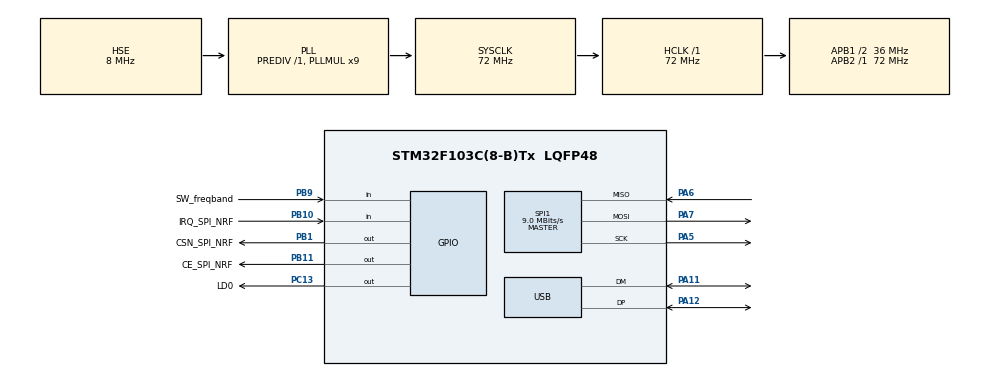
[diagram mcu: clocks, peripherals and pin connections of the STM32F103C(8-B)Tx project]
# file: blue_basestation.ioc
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Mcu.Family=STM32F1
Mcu.Name=STM32F103C(8-B)Tx
Mcu.Package=LQFP48
NVIC.PriorityGroup=NVIC_PRIORITYGROUP_4
NVIC.USB_LP_CAN1_RX0_IRQn=true\:0\:0\:false\:false\:true\:false
PA11.Mode=Device
PA11.Signal=USB_DM
PA12.Mode=Device
PA12.Signal=USB_DP
PA13.Mode=Serial_Wire
PA13.Signal=SYS_JTMS-SWDIO
PA14.Mode=Serial_Wire
PA14.Signal=SYS_JTCK-SWCLK
PA5.Mode=Full_Duplex_Master
PA5.Signal=SPI1_SCK
PA6.Mode=Full_Duplex_Master
PA6.Signal=SPI1_MISO
PA7.Mode=Full_Duplex_Master
PA7.Signal=SPI1_MOSI
PB1.GPIO_Label=CSN_SPI_NRF
PB1.Signal=GPIO_Output
PB10.GPIO_Label=IRQ_SPI_NRF
PB10.Signal=GPIO_Input
PB11.GPIO_Label=CE_SPI_NRF
PB11.Signal=GPIO_Output
PB9.GPIO_Label=SW_freqband
PB9.GPIO_PuPd=GPIO_PULLUP
PB9.Signal=GPIO_Input
PC13-TAMPER-RTC.GPIO_Label=LD0
PC13-TAMPER-RTC.PinState=GPIO_PIN_SET
PC13-TAMPER-RTC.Signal=GPIO_Output
PD0-OSC_IN.Mode=HSE-External-Oscillator
PD0-OSC_IN.Signal=RCC_OSC_IN
PD1-OSC_OUT.Mode=HSE-External-Oscillator
PD1-OSC_OUT.Signal=RCC_OSC_OUT
ProjectManager.HeapSize=0x200
ProjectManager.StackSize=0x400
ProjectManager.TargetToolchain=SW4STM32
RCC.AHBFreq_Value=72000000
RCC.APB1CLKDivider=RCC_HCLK_DIV2
RCC.APB1Freq_Value=36000000
RCC.APB1TimFreq_Value=72000000
RCC.APB2Freq_Value=72000000
RCC.APB2TimFreq_Value=72000000
RCC.HCLKFreq_Value=72000000
RCC.PLLMUL=RCC_PLL_MUL9
RCC.SYSCLKFreq_VALUE=72000000
RCC.SYSCLKSource=RCC_SYSCLKSOURCE_PLLCLK
RCC.USBFreq_Value=48000000
RCC.USBPrescaler=RCC_USBCLKSOURCE_PLL_DIV1_5
SPI1.BaudRatePrescaler=SPI_BAUDRATEPRESCALER_8
SPI1.CalculateBaudRate=9.0 MBits/s
SPI1.Direction=SPI_DIRECTION_2LINES
SPI1.Mode=SPI_MODE_MASTER
SPI1.VirtualType=VM_MASTER
USB_DEVICE.CLASS_NAME_FS=CDC
USB_DEVICE.PRODUCT_STRING_CDC_FS=Basestation
USB_DEVICE.VirtualMode=Cdc
USB_DEVICE.VirtualModeFS=Cdc_FS
VP_USB_DEVICE_VS_USB_DEVICE_CDC_FS.Mode=CDC_FS
board=blue_basestation

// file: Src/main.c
/**
  ******************************************************************************
  * @file           : main.c
  * @brief          : Main program body
  ******************************************************************************
  * This notice applies to any and all portions of this file
  * that are not between comment pairs USER CODE BEGIN and
  * USER CODE END. Other portions of this file, whether
  * inserted by the user or by software development tools
  * are owned by their respective copyright owners.
  *
  * Copyright (c) 2018 STMicroelectronics International N.V.
  * All rights reserved.
  *
  * Redistribution and use in source and binary forms, with or without
  * modification, are permitted, provided that the following conditions are met:
  *
  * 1. Redistribution of source code must retain the above copyright notice,
  *    this list of conditions and the following disclaimer.
  * 2. Redistributions in binary form must reproduce the above copyright notice,
  *    this list of conditions and the following disclaimer in the documentation
  *    and/or other materials provided with the distribution.
  * 3. Neither the name of STMicroelectronics nor the names of other
  *    contributors to this software may be used to endorse or promote products
  *    derived from this software without specific written permission.
  * 4. This software, including modifications and/or derivative works of this
  *    software, must execute solely and exclusively on microcontroller or
  *    microprocessor devices manufactured by or for STMicroelectronics.
  * 5. Redistribution and use of this software other than as permitted under
  *    this license is void and will automatically terminate your rights under
  *    this license.
  *
  * THIS SOFTWARE IS PROVIDED BY STMICROELECTRONICS AND CONTRIBUTORS "AS IS"
  * AND ANY EXPRESS, IMPLIED OR STATUTORY WARRANTIES, INCLUDING, BUT NOT
  * LIMITED TO, THE IMPLIED WARRANTIES OF MERCHANTABILITY, FITNESS FOR A
  * PARTICULAR PURPOSE AND NON-INFRINGEMENT OF THIRD PARTY INTELLECTUAL PROPERTY
  * RIGHTS ARE DISCLAIMED TO THE FULLEST EXTENT PERMITTED BY LAW. IN NO EVENT
  * SHALL STMICROELECTRONICS OR CONTRIBUTORS BE LIABLE FOR ANY DIRECT, INDIRECT,
  * INCIDENTAL, SPECIAL, EXEMPLARY, OR CONSEQUENTIAL DAMAGES (INCLUDING, BUT NOT
  * LIMITED TO, PROCUREMENT OF SUBSTITUTE GOODS OR SERVICES; LOSS OF USE, DATA,
  * OR PROFITS; OR BUSINESS INTERRUPTION) HOWEVER CAUSED AND ON ANY THEORY OF
  * LIABILITY, WHETHER IN CONTRACT, STRICT LIABILITY, OR TORT (INCLUDING
  * NEGLIGENCE OR OTHERWISE) ARISING IN ANY WAY OUT OF THE USE OF THIS SOFTWARE,
  * EVEN IF ADVISED OF THE POSSIBILITY OF SUCH DAMAGE.
  *
  ******************************************************************************
  */
#include "main.h"
#include "stm32f1xx_hal.h"
#include "spi.h"
#include "usb_device.h"
#include "gpio.h"

/* USER CODE BEGIN Includes */
#include "myNRF24.h"
#include "basestationNRF24.h"
#include "TextOut.h"
#include "packing.h"

#include "packing.h"
#include "test_packing.h"
#include "test_packetSending.h"
/* USER CODE END Includes */

/* USER CODE BEGIN PV */
/* Private variables ---------------------------------------------------------*/
uint8_t debugRoboPacket[ROBOPKTLEN];

/* USER CODE END PV */

void SystemClock_Config(void);

/* USER CODE BEGIN PFP */
/* Private function prototypes -----------------------------------------------*/

/* USER CODE END PFP */

/* USER CODE BEGIN 0 */
void tacticsCommTestLoop() {
	//roboData debugRoboData;

	//packetToRoboData(usbData, &debugRoboData);
/*	debugRoboData.id = 10; //robot 10
	debugRoboData.rho = 1;
	debugRoboData.theta = 2;
	debugRoboData.driving_reference = 0;
	debugRoboData.use_cam_info = 0;
	debugRoboData.velocity_angular = 4;
	debugRoboData.debug_info = !debugRoboData.debug_info;
	debugRoboData.do_kick = 1;
	debugRoboData.do_chip = 0;
	debugRoboData.kick_chip_forced = 1;
	debugRoboData.kick_chip_power = 0;
	debugRoboData.velocity_dribbler = 15;
	debugRoboData.geneva_drive_state = 3;
	debugRoboData.cam_position_x = 1;
	debugRoboData.cam_position_y = 2;
	debugRoboData.cam_rotation = 3;*/
	//robotDataToPacket(&debugRoboData, debugRoboPacket);
	sendPacket(debugRoboPacket);

	//we need to know to which Robot the PC wanted to send.
	//we could convert the whole array to a RobotData struct,
	//but for performance reasons we just use bitshifting, implying our packet format.
	uint8_t robotToSendTo = usbData[0] >> 3;
	getAndProcessAck(robotToSendTo);
	//HAL_Delay(10);
	//clearInterrupts();

}

void dummyTestLoop() {
	roboData debugRoboData;
	uint8_t debugRoboPacket[ROBOPKTLEN];

	debugRoboData.id = 10; //robot 10
	debugRoboData.rho = 1;
	debugRoboData.theta = 2;
	debugRoboData.driving_reference = 0;
	debugRoboData.use_cam_info = 0;
	debugRoboData.velocity_angular = 4;
	debugRoboData.debug_info = !debugRoboData.debug_info;
	debugRoboData.do_kick = 1;
	debugRoboData.do_chip = 0;
	debugRoboData.kick_chip_forced = 1;
	debugRoboData.kick_chip_power = 0;
	debugRoboData.velocity_dribbler = 15;
	debugRoboData.geneva_drive_state = 3;
	debugRoboData.cam_position_x = 1;
	debugRoboData.cam_position_y = 2;
	debugRoboData.cam_rotation = 3;
	robotDataToPacket(&debugRoboData, debugRoboPacket);
	sendPacket(debugRoboPacket);

	//we need to know to which Robot the PC wanted to send.
	//we could convert the whole array to a RobotData struct,
	//but for performance reasons we just use bitshifting, implying our packet format.
	uint8_t robotToSendTo = 10;
	getAndProcessAck(robotToSendTo);
	HAL_Delay(50);

}
/* USER CODE END 0 */

int main(void)
{

  /* MCU Configuration----------------------------------------------------------*/

  /* Reset of all peripherals, Initializes the Flash interface and the Systick. */
  HAL_Init();

  /* Configure the system clock */
  SystemClock_Config();

  /* Initialize all configured peripherals */
  MX_GPIO_Init();
  //MX_USB_DEVICE_Init();
  MX_SPI1_Init();
  /* USER CODE BEGIN 2 */

  if(HAL_GPIO_ReadPin(SW_freqband_GPIO_Port,SW_freqband_Pin)){
	  initBase(&hspi1, 103);
	  memcpy(freq_str, "078", 3);
  }else{
	  initBase(&hspi1, 80);
	  memcpy(freq_str, "080", 3);
  }
  MX_USB_DEVICE_Init();
  /* USER CODE END 2 */

  /* Infinite loop */
  /* USER CODE BEGIN WHILE */
	HAL_Delay(1000);
  while (1)
  {

		if(HAL_GetTick()% 1000 < 500){
//			HAL_GPIO_WritePin(LD0_GPIO_Port,LD0_Pin, 1);
		}else {
//			HAL_GPIO_WritePin(LD0_GPIO_Port,LD0_Pin, 0);
		}
		//dummyTestLoop();
		if(usbLength >= ROBOPKTLEN){
			memcpy(debugRoboPacket, usbData,ROBOPKTLEN);
			tacticsCommTestLoop();
			usbLength -= ROBOPKTLEN;
			if(usbLength < ROBOPKTLEN){
				usbLength = 0;
			}else{
				memmove(usbData, usbData + ROBOPKTLEN, 256 - ROBOPKTLEN);
			}
		}
  /* USER CODE END WHILE */

  }

}

void SystemClock_Config(void)
{

  RCC_OscInitTypeDef RCC_OscInitStruct;
  RCC_ClkInitTypeDef RCC_ClkInitStruct;
  RCC_PeriphCLKInitTypeDef PeriphClkInit;

    /**Initializes the CPU, AHB and APB busses clocks
    */
  RCC_OscInitStruct.OscillatorType = RCC_OSCILLATORTYPE_HSE;
  RCC_OscInitStruct.HSEState = RCC_HSE_ON;
  RCC_OscInitStruct.HSEPredivValue = RCC_HSE_PREDIV_DIV1;
  RCC_OscInitStruct.HSIState = RCC_HSI_ON;
  RCC_OscInitStruct.PLL.PLLState = RCC_PLL_ON;
  RCC_OscInitStruct.PLL.PLLSource = RCC_PLLSOURCE_HSE;
  RCC_OscInitStruct.PLL.PLLMUL = RCC_PLL_MUL9;
  if (HAL_RCC_OscConfig(&RCC_OscInitStruct) != HAL_OK)
  {
    _Error_Handler(__FILE__, __LINE__);
  }

    /**Initializes the CPU, AHB and APB busses clocks
    */
  RCC_ClkInitStruct.ClockType = RCC_CLOCKTYPE_HCLK|RCC_CLOCKTYPE_SYSCLK
                              |RCC_CLOCKTYPE_PCLK1|RCC_CLOCKTYPE_PCLK2;
  RCC_ClkInitStruct.SYSCLKSource = RCC_SYSCLKSOURCE_PLLCLK;
  RCC_ClkInitStruct.AHBCLKDivider = RCC_SYSCLK_DIV1;
  RCC_ClkInitStruct.APB1CLKDivider = RCC_HCLK_DIV2;
  RCC_ClkInitStruct.APB2CLKDivider = RCC_HCLK_DIV1;

  if (HAL_RCC_ClockConfig(&RCC_ClkInitStruct, FLASH_LATENCY_2) != HAL_OK)
  {
    _Error_Handler(__FILE__, __LINE__);
  }

  PeriphClkInit.PeriphClockSelection = RCC_PERIPHCLK_USB;
  PeriphClkInit.UsbClockSelection = RCC_USBCLKSOURCE_PLL_DIV1_5;
  if (HAL_RCCEx_PeriphCLKConfig(&PeriphClkInit) != HAL_OK)
  {
    _Error_Handler(__FILE__, __LINE__);
  }

    /**Configure the Systick interrupt time
    */
  HAL_SYSTICK_Config(HAL_RCC_GetHCLKFreq()/1000);

    /**Configure the Systick
    */
  HAL_SYSTICK_CLKSourceConfig(SYSTICK_CLKSOURCE_HCLK);

  /* SysTick_IRQn interrupt configuration */
  HAL_NVIC_SetPriority(SysTick_IRQn, 0, 0);
}

void _Error_Handler(char *file, int line)
{
  while(1)
  {
  }
}

/************************ (C) COPYRIGHT STMicroelectronics *****END OF FILE****/
